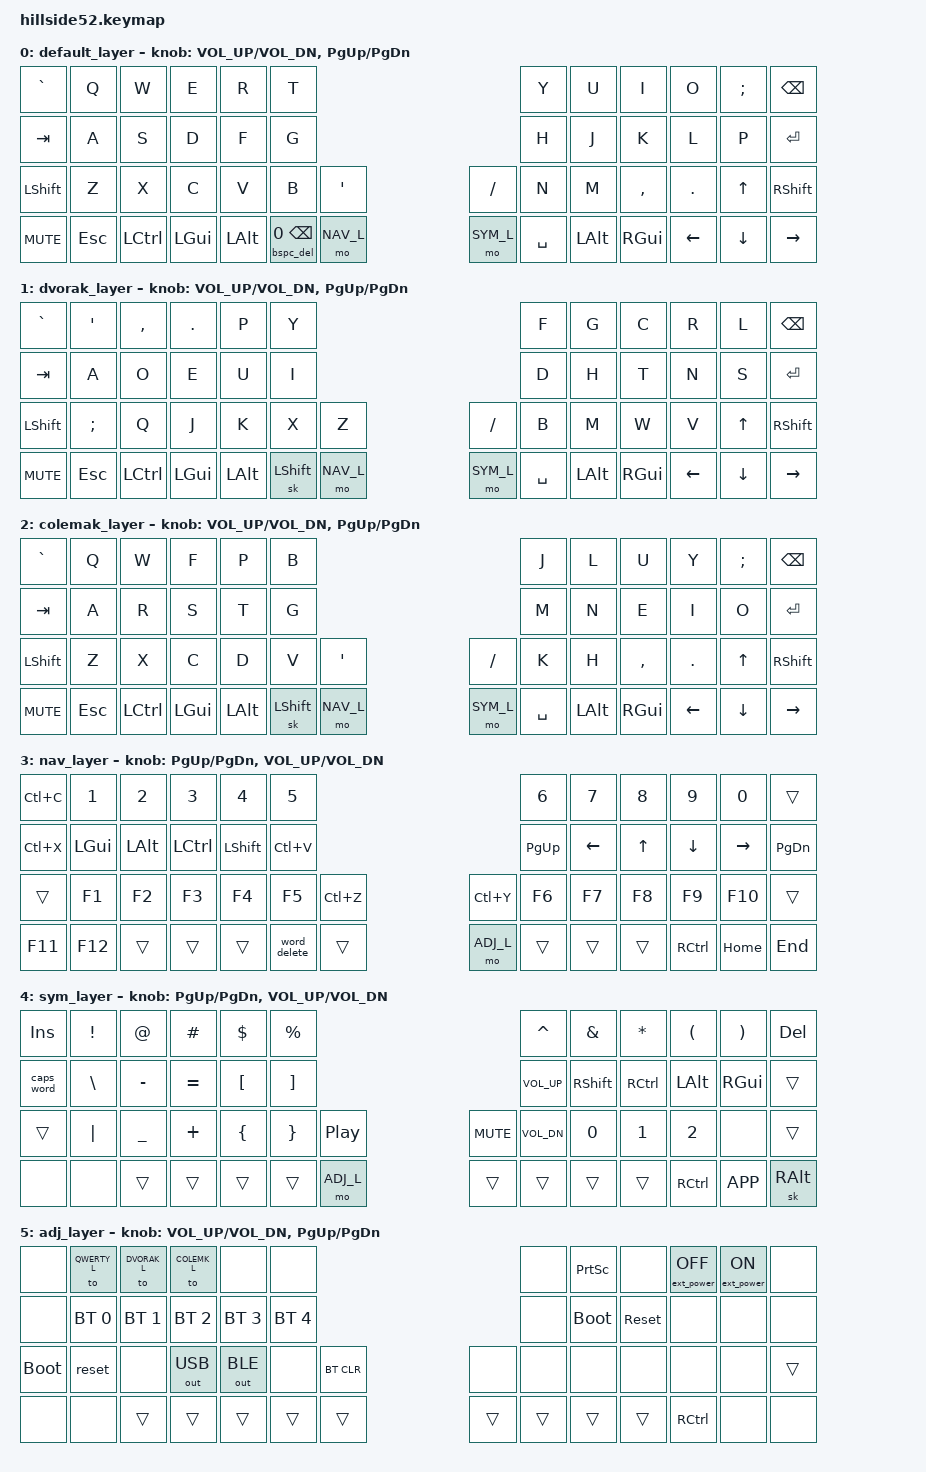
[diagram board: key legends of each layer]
/*
 * Copyright (c) 2021-2022 The ZMK Contributors
 *
 * SPDX-License-Identifier: MIT
 */

#include <behaviors.dtsi>
#include <dt-bindings/zmk/bt.h>
#include <dt-bindings/zmk/ext_power.h>
#include <dt-bindings/zmk/keys.h>
#include <dt-bindings/zmk/outputs.h>

#define QWERTY_L 0
#define DVORAK_L 1
#define COLEMK_L 2
#define NAV_L    3
#define SYM_L    4
#define ADJ_L    5

#define Undo   LC(Z)
#define Cut    LC(X)
#define Copy   LC(C)
#define Paste  LC(V)
#define Redo   LC(Y)


/ {
        macros {
                word_delete: word_delete {
                        label = "word_delete";
                        compatible = "zmk,behavior-macro";
                        wait-ms = <40>;
                        tap-ms = <40>;
                        #binding-cells = <0>;
                        bindings = <&macro_press &kp LALT>, <&macro_tap &kp LEFT>, <&macro_tap &kp DEL>, <&macro_release &kp LALT>;
                };
                
        };

        behaviors {
                bspc_word_delete: backspace_word_delete {
                        compatible = "zmk,behavior-hold-tap";
                        label = "BACKSPACE_WORD_DELETE";
                        #binding-cells = <2>;
                        flavor = "hold-preferred";
                        tapping-term-ms = <10000>;  // so it never triggers
                        bindings = <&word_delete>, <&kp>;
                        hold-trigger-key-positions = <30>;  // Position of the key that would trigger the word_delete macro
                };
        };

        keymap {
                compatible = "zmk,keymap";

                default_layer {
/* QWERTY
 * -------------------------------------------------------------------------------------------------------------------------------------
 * | `     |   Q   |   W   |   E   |   R   |   T   |-----------------------------------|   Y   |   U   |   I   |   O   |   ;   | BKSPC |
 * | TAB   |   A   |   S   |   D   |   F   |   G   |-----------------------------------|   H   |   J   |   K   |   L   |   P   | ENTER |
 * | SHIFT |   Z   |   X   |   C   |   V   |   B   |   '   |-------------------|   /   |   N   |   M   |   ,   |   .   |  Up   | SHIFT |
 * | Mute  |  ESC  | CTRL  |-------|  GUI  |  ALT  |SK SHFT|  Nav  |---|  Sym  | SPACE |  ALT  |  GUI  |-------| Left  | Down  | Right |
 */
                        bindings = <
&kp  GRAVE    &kp  Q        &kp  W        &kp  E        &kp  R        &kp  T                                                                         &kp  Y        &kp  U        &kp  I        &kp  O        &kp  SEMI     &kp  BSPC
&kp  TAB      &kp  A        &kp  S        &kp  D        &kp  F        &kp  G                                                                         &kp  H        &kp  J        &kp  K        &kp  L        &kp  P        &kp  ENTER
&kp  LSHFT    &kp  Z        &kp  X        &kp  C        &kp  V        &kp  B        &kp  SQT                                           &kp  SLASH    &kp  N        &kp  M        &kp  COMMA    &kp  DOT      &kp  UP       &kp  RSHFT
&kp  C_MUTE   &kp  ESC      &kp  LCTRL                  &kp  LGUI     &kp  LALT     &bspc_del 0 BSPC &mo  NAV_L            &mo  SYM_L    &kp  SPACE    &kp  LALT     &kp  RGUI                   &kp  LEFT     &kp  DOWN     &kp  RIGHT
                        >;
			
                        sensor-bindings = <&inc_dec_kp C_VOL_UP C_VOL_DN &inc_dec_kp PG_UP PG_DN>;
                };
		
                dvorak_layer {
/* DVORAK
 * -------------------------------------------------------------------------------------------------------------------------------------
 * | `     |   '   |   ,   |   .   |   P   |   Y   |-----------------------------------|   F   |   G   |   C   |   R   |   L   | BKSPC |
 * | TAB   |   A   |   O   |   E   |   U   |   I   |-----------------------------------|   D   |   H   |   T   |   N   |   S   | ENTER |
 * | SHIFT |   ;   |   Q   |   J   |   K   |   X   |   Z   |-------------------|   /   |   B   |   M   |   W   |   V   |  Up   | SHIFT |
 * | Mute  |  ESC  | CTRL  |-------|  GUI  |  ALT  |SK SHFT|  Nav  |---|  Sym  | SPACE |  ALT  |  GUI  |-------| Left  | Down  | Right |
 */
                        bindings = <
&kp  GRAVE    &kp  SQT      &kp  COMMA    &kp  DOT      &kp  P        &kp  Y                                                                         &kp  F        &kp  G        &kp  C        &kp  R        &kp  L        &kp  BSPC
&kp  TAB      &kp  A        &kp  O        &kp  E        &kp  U        &kp  I                                                                         &kp  D        &kp  H        &kp  T        &kp  N        &kp  S        &kp  ENTER
&kp  LSHFT    &kp  SEMI     &kp  Q        &kp  J        &kp  K        &kp  X        &kp  Z                                             &kp  SLASH    &kp  B        &kp  M        &kp  W        &kp  V        &kp  UP       &kp  RSHFT
&kp  C_MUTE   &kp  ESC      &kp  LCTRL                  &kp  LGUI     &kp  LALT     &sk  LSHIFT    &mo  NAV_L            &mo  SYM_L    &kp  SPACE    &kp  LALT     &kp  RGUI                   &kp  LEFT     &kp  DOWN     &kp  RIGHT
                        >;
			
                        sensor-bindings = <&inc_dec_kp C_VOL_UP C_VOL_DN &inc_dec_kp PG_UP PG_DN>;
                };
		
                colemak_layer {
/* COLEMAK-DH
 * -------------------------------------------------------------------------------------------------------------------------------------
 * | `     |   Q   |   W   |   F   |   P   |   B   |-----------------------------------|   J   |   L   |   U   |   Y   |   ;   | BKSPC |
 * | TAB   |   A   |   R   |   S   |   T   |   G   |-----------------------------------|   M   |   N   |   E   |   I   |   O   | ENTER |
 * | SHIFT |   Z   |   X   |   C   |   D   |   V   |   '   |-------------------|   /   |   K   |   H   |   ,   |   .   |  Up   | SHIFT |
 * | Mute  |  ESC  | CTRL  |-------|  GUI  |  ALT  |SK SHFT|  Nav  |---|  Sym  | SPACE |  ALT  |  GUI  |-------| Left  | Down  | Right |
 */
                        bindings = <
&kp  GRAVE    &kp  Q        &kp  W        &kp  F        &kp  P        &kp  B                                                                         &kp  J        &kp  L        &kp  U        &kp  Y        &kp  SEMI     &kp  BSPC
&kp  TAB      &kp  A        &kp  R        &kp  S        &kp  T        &kp  G                                                                         &kp  M        &kp  N        &kp  E        &kp  I        &kp  O        &kp  ENTER
&kp  LSHFT    &kp  Z        &kp  X        &kp  C        &kp  D        &kp  V        &kp  SQT                                           &kp  SLASH    &kp  K        &kp  H        &kp  COMMA    &kp  DOT      &kp  UP       &kp  RSHFT
&kp  C_MUTE   &kp  ESC      &kp  LCTRL                  &kp  LGUI     &kp  LALT     &sk  LSHIFT     &mo  NAV_L           &mo  SYM_L    &kp  SPACE    &kp  LALT     &kp  RGUI                   &kp  LEFT     &kp  DOWN     &kp  RIGHT
                        >;
			
                        sensor-bindings = <&inc_dec_kp C_VOL_UP C_VOL_DN &inc_dec_kp PG_UP PG_DN>;
                };

                nav_layer {
/* NAV
 * -------------------------------------------------------------------------------------------------------------------------------------
 * | Copy  |   1   |   2   |   3   |   4   |   5   |-----------------------------------|   6   |   7   |   8   |   9   |   0   | BSPC  |
 * | Cut   |  GUI  |  Alt  | Ctrl  | Shift | Paste |-----------------------------------| PG UP |  Left |  Up   |  Down | Right | PG DN |
 * | Shift |  F1   |  F2   |  F3   |  F4   |  F5   |  UnDo |-------------------| ReDo  |  F6   |  F7   |  F8   |  F9   |  F10  | Shift |
 * | F11   |  F12  |       |-------|       |       |       |       |---| ADJ_L |       |       |       |-------| CTRL  | HOME  |  END  |
 */
                        bindings = <
&kp  Copy     &kp  N1       &kp  N2       &kp  N3       &kp  N4       &kp  N5                                                                        &kp   N6      &kp  N7      &kp   N8      &kp   N9      &kp  N0       &trans
&kp  Cut      &kp  LGUI     &kp  LALT     &kp  LCTRL    &kp  LSHFT    &kp  Paste                                                                     &kp   PG_UP   &kp  LEFT    &kp   UP      &kp   DOWN    &kp  RIGHT    &kp PG_DN
&trans        &kp  F1       &kp  F2       &kp  F3       &kp  F4       &kp  F5       &kp Undo                                           &kp  Redo     &kp   F6      &kp  F7      &kp   F8      &kp   F9      &kp  F10      &trans
&kp  F11      &kp  F12      &trans                      &trans        &trans        &word_delete        &trans           &mo ADJ_L     &trans        &trans        &trans                     &kp  RCTRL    &kp  HOME     &kp  END
                        >;                                                        // ^TODO: this is a test
			
                        sensor-bindings = <&inc_dec_kp PG_UP PG_DN &inc_dec_kp C_VOL_UP C_VOL_DN>;
                };

                sym_layer {
/* SYM
 * -------------------------------------------------------------------------------------------------------------------------------------
 * | INS   |   !   |   @   |   #   |   $   |   %   |-----------------------------------|   ^   |   &   |   *   |   (   |   )   | DELETE|
 * | CAPS  |   \   |   -   |   =   |   [   |   ]   |-----------------------------------| Vol+  | Shift | Ctrl  | Alt   | Gui   | ENTER |
 * | Shift |   |   |   _   |   +   |   {   |   }   | Play  |-------------------| Mute  | Vol-  |  N0   |  N1   |  N2   |       | SHIFT |
 * |       |       |       |-------|       |       |       |  ADJ_L |---|      |       |       |       |-------| CTRL  | MENU  |SkAltGr|
 */
                        bindings = <
&kp  INS      &kp  EXCL     &kp  AT       &kp  HASH     &kp  DOLLAR   &kp  PERCENT                                                                   &kp  CARET    &kp  AMPS     &kp  ASTRK    &kp  LPAR     &kp  RPAR     &kp  DEL
&caps_word    &kp  BSLH     &kp  MINUS    &kp  EQUAL    &kp  LBKT     &kp  RBKT                                                                      &kp C_VOL_UP  &kp  RSHFT    &kp  RCTRL    &kp  LALT     &kp  RGUI     &trans
&trans        &kp  PIPE     &kp  UNDER    &kp  PLUS     &kp  LBRC     &kp  RBRC     &kp  C_PP                                          &kp C_MUTE    &kp C_VOL_DN  &kp  N0       &kp  N1       &kp  N2       &none         &trans
&none         &none         &trans                      &trans        &trans        &trans        &mo  ADJ_L               &trans      &trans        &trans        &trans                      &kp  RCTRL    &kp  K_APP    &sk  RALT
                        >;
			
                        sensor-bindings = <&inc_dec_kp PG_UP PG_DN &inc_dec_kp C_VOL_UP C_VOL_DN>;
                };
		

                adj_layer {
/* ADJUST
 * -------------------------------------------------------------------------------------------------------------------------------------
 * |       | QWERTY| DVORAK| COLEMK|       |       |-----------------------------------|       |Prt Scr|       | EP_OFF| EP_ON |       |
 * |       | BT 0  | BT 1  | BT 2  | BT 3  | BT 4  |-----------------------------------|       |       |       |       |       |       |
 * | BOOTL | RESET |       |OUT_USB|OUT_BLE|       |BT CLR |-------------------|       |       |       |       |       |       | SHIFT |
 * ----------------|       |-------|       |       |       |       |---|       |       |       |       |-------| CTRL  |----------------
 */
                        bindings = <
&none         &to  QWERTY_L &to  DVORAK_L &to  COLEMK_L &none         &none                                                                             &none             &kp PRINTSCREEN    &none          &ext_power EP_OFF  &ext_power EP_ON &none
&none         &bt  BT_SEL 0 &bt  BT_SEL 1 &bt  BT_SEL 2 &bt  BT_SEL 3 &bt  BT_SEL 4                                                                     &none             &bootloader        &sys_reset     &none           &none            &none
&bootloader   &reset        &none         &out OUT_USB  &out OUT_BLE  &none         &bt BT_CLR                                         &none            &none             &none              &none          &none           &none            &trans
&none         &none         &trans                      &trans        &trans        &trans        &trans                 &trans        &trans           &trans            &trans                            &kp  RCTRL      &none            &none
                        >;
			
                        sensor-bindings = <&inc_dec_kp C_VOL_UP C_VOL_DN &inc_dec_kp PG_UP PG_DN>;
                };
        };
};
